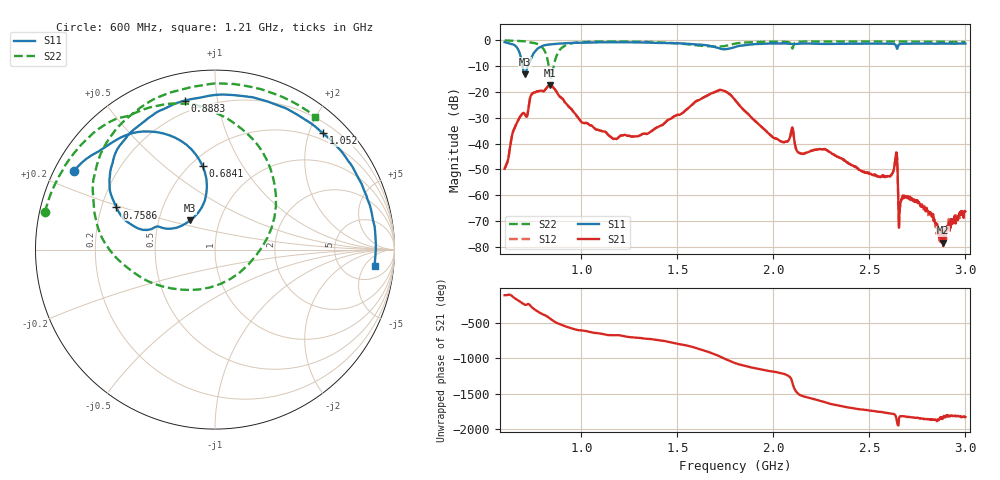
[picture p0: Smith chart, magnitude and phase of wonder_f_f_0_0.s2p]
#  HZ  S  RI  R  50.00
! Rohde & Schwarz ZVB8 2Ports - Version 2.81 - 1145.1010k08 SN: 100113
! Date: 2016-05-12 03:16:36
! Measurements: S11 S21 S12 S22
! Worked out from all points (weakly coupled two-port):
!   1000 points, 600 MHz to 3 GHz, reference 50 ohm
!   highest |S21| = -17.47 dB at 835.4 MHz (marker M1); lowest = -78.2 dB at 2.885 GHz (marker M2)
!   lowest |S11| = -13.4 dB at 705.7 MHz (marker M3), VSWR 1.55, Z = 36 + j12.2 ohm
!   |S11| at or under -10 dB: 693.7 MHz to 720.7 MHz (27.01 MHz wide, 3.82 % of centre)
!   |S22| runs from -14.7 to -0.3 dB; largest |S21 - S12| = 0.0013
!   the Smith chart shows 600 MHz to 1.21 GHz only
!   S11 on the Smith chart (normalised r, x): 600 MHz: 0.06, +0.26; 684.1 MHz: 0.57, +0.68; 758.6 MHz: 0.26, +0.19; 888.3 MHz: 0.14, +0.81; 1.052 GHz: 0.38, +2.24; 1.21 GHz: 10, -9
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6e8  -0.7867 0.4386  -0.00101 -0.00309  -0.00104 -0.00307  -0.9479 0.2094
6.840841e8  -0.0687 0.4648  -0.0311 0.0145  -0.0311 0.0145  -0.743 0.5869
7.057057e8  -0.1403 0.1624  -0.0167 0.0324  -0.0164 0.0326  -0.6421 0.6766
7.585586e8  -0.5492 0.2346  0.0676 0.0699  0.0675 0.0693  -0.299 0.8057
7.993994e8  -0.5585 0.5283  0.0956 -0.0354  0.096 -0.0354  0.1516 0.67
8.354354e8  -0.4119 0.7003  0.0332 -0.1297  0.0332 -0.1297  0.2271 -0.035
8.882883e8  -0.1695 0.8302  -0.0737 -0.0304  -0.0736 -0.0302  -0.6417 0.0922
1.001201e9  0.3906 0.7892  -0.00981 0.0236  -0.00988 0.0236  -0.3462 0.8353
1.051652e9  0.6011 0.6482  0.000292 0.0223  0.00036 0.0224  -0.1065 0.9099
1.21021e9  0.8893 -0.0909  0.0113 0.00886  0.0113 0.00888  0.5588 0.7398
1.4e9  0.3434 -0.8052  0.0192 -0.00816  0.0193 -0.00814  0.8958 0.0685
1.616216e9  -0.5236 -0.6134  -0.0613 -0.0335  -0.0614 -0.0337  0.5546 -0.532
1.801201e9  -0.7011 -0.1953  0.0671 0.0136  0.0671 0.0136  0.2982 -0.7908
1.976577e9  -0.7229 0.4403  -0.00251 -0.0153  -0.00254 -0.0152  -0.2547 -0.8756
2.2e9  0.0221 0.8447  -0.0046 -0.00555  -0.00467 -0.00556  -0.7283 -0.5707
2.423423e9  0.7545 0.3707  -5.48e-05 0.00365  -5.52e-05 0.00366  -0.925 -0.0777
2.601201e9  0.747 -0.3891  0.00218 0.000876  0.00208 0.000926  -0.8675 0.3173
2.634835e9  0.6134 -0.524  0.0049 -0.000405  0.00491 -0.00035  -0.8401 0.3826
2.661261e9  0.6339 -0.5356  0.000667 -0.000215  0.000656 -0.000244  -0.8136 0.4331
2.752553e9  0.3098 -0.7829  0.000541 -0.000452  0.000512 -0.000524  -0.6938 0.6055
2.884685e9  -0.1915 -0.8239  8.77e-05 -8.59e-05  9.34e-05 -4.73e-05  -0.4525 0.7948
3e9  -0.5544 -0.6371  0.000422 -0.000251  0.000434 -0.000233  -0.1849 0.8841
